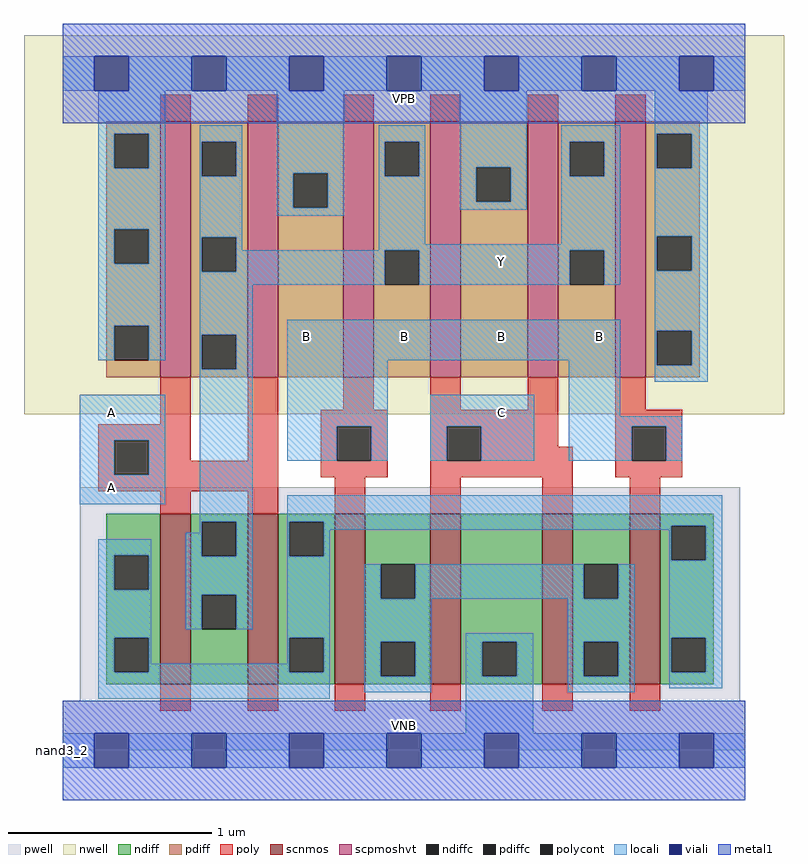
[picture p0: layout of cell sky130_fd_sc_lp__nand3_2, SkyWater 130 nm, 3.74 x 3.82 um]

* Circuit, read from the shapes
.subckt sky130_fd_sc_lp__nand3_2 A B C VGND VNB VPB VPWR Y
XM1 Y A n1 VNB sky130_fd_pr__nfet_01v8 w=0.84 l=0.15 m=2
XM2 n2 B n1 VNB sky130_fd_pr__nfet_01v8 w=0.84 l=0.15 m=2
XM3 VGND C n2 VNB sky130_fd_pr__nfet_01v8 w=0.84 l=0.15 m=2
XM4 Y A VPWR VPB sky130_fd_pr__pfet_01v8_hvt w=1.26 l=0.15 m=2
XM5 Y B VPWR VPB sky130_fd_pr__pfet_01v8_hvt w=1.26 l=0.15 m=2
XM6 VPWR C Y VPB sky130_fd_pr__pfet_01v8_hvt w=1.26 l=0.15 m=2
.ends

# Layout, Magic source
magic
tech sky130A
magscale 1 2
<< nwell >>
rect -38 331 710 704
<< pwell >>
rect 17 49 667 259
rect 0 0 672 49
<< scnmos >>
rect 96 65 126 233
rect 182 65 212 233
rect 268 65 298 233
rect 362 65 392 233
rect 472 65 502 233
rect 558 65 588 233
<< scpmoshvt >>
rect 96 367 126 619
rect 182 367 212 619
rect 276 367 306 619
rect 362 367 392 619
rect 458 367 488 619
rect 544 367 574 619
<< ndiff >>
rect 43 192 96 233
rect 43 158 51 192
rect 85 158 96 192
rect 43 111 96 158
rect 43 77 51 111
rect 85 77 96 111
rect 43 65 96 77
rect 126 225 182 233
rect 126 191 137 225
rect 171 191 182 225
rect 126 153 182 191
rect 126 119 137 153
rect 171 119 182 153
rect 126 65 182 119
rect 212 225 268 233
rect 212 191 223 225
rect 257 191 268 225
rect 212 111 268 191
rect 212 77 223 111
rect 257 77 268 111
rect 212 65 268 77
rect 298 183 362 233
rect 298 149 313 183
rect 347 149 362 183
rect 298 107 362 149
rect 298 73 313 107
rect 347 73 362 107
rect 298 65 362 73
rect 392 107 472 233
rect 392 73 413 107
rect 447 73 472 107
rect 392 65 472 73
rect 502 183 558 233
rect 502 149 513 183
rect 547 149 558 183
rect 502 107 558 149
rect 502 73 513 107
rect 547 73 558 107
rect 502 65 558 73
rect 588 221 641 233
rect 588 187 599 221
rect 633 187 641 221
rect 588 111 641 187
rect 588 77 599 111
rect 633 77 641 111
rect 588 65 641 77
<< pdiff >>
rect 43 607 96 619
rect 43 573 51 607
rect 85 573 96 607
rect 43 513 96 573
rect 43 479 51 513
rect 85 479 96 513
rect 43 418 96 479
rect 43 384 51 418
rect 85 384 96 418
rect 43 367 96 384
rect 126 599 182 619
rect 126 565 137 599
rect 171 565 182 599
rect 126 505 182 565
rect 126 471 137 505
rect 171 471 182 505
rect 126 409 182 471
rect 126 375 137 409
rect 171 375 182 409
rect 126 367 182 375
rect 212 568 276 619
rect 212 534 227 568
rect 261 534 276 568
rect 212 367 276 534
rect 306 599 362 619
rect 306 565 317 599
rect 351 565 362 599
rect 306 492 362 565
rect 306 458 317 492
rect 351 458 362 492
rect 306 367 362 458
rect 392 574 458 619
rect 392 540 407 574
rect 441 540 458 574
rect 392 367 458 540
rect 488 599 544 619
rect 488 565 499 599
rect 533 565 544 599
rect 488 492 544 565
rect 488 458 499 492
rect 533 458 544 492
rect 488 367 544 458
rect 574 607 627 619
rect 574 573 585 607
rect 619 573 627 607
rect 574 506 627 573
rect 574 472 585 506
rect 619 472 627 506
rect 574 413 627 472
rect 574 379 585 413
rect 619 379 627 413
rect 574 367 627 379
<< ndiffc >>
rect 51 158 85 192
rect 51 77 85 111
rect 137 191 171 225
rect 137 119 171 153
rect 223 191 257 225
rect 223 77 257 111
rect 313 149 347 183
rect 313 73 347 107
rect 413 73 447 107
rect 513 149 547 183
rect 513 73 547 107
rect 599 187 633 221
rect 599 77 633 111
<< pdiffc >>
rect 51 573 85 607
rect 51 479 85 513
rect 51 384 85 418
rect 137 565 171 599
rect 137 471 171 505
rect 137 375 171 409
rect 227 534 261 568
rect 317 565 351 599
rect 317 458 351 492
rect 407 540 441 574
rect 499 565 533 599
rect 499 458 533 492
rect 585 573 619 607
rect 585 472 619 506
rect 585 379 619 413
<< poly >>
rect 96 619 126 645
rect 182 619 212 645
rect 276 619 306 645
rect 362 619 392 645
rect 458 619 488 645
rect 544 619 574 645
rect 96 321 126 367
rect 35 305 126 321
rect 35 271 51 305
rect 85 285 126 305
rect 182 285 212 367
rect 276 335 306 367
rect 362 335 392 367
rect 458 335 488 367
rect 85 271 212 285
rect 35 255 212 271
rect 254 319 320 335
rect 254 285 270 319
rect 304 285 320 319
rect 254 269 320 285
rect 362 319 488 335
rect 362 285 378 319
rect 412 299 488 319
rect 544 335 574 367
rect 544 319 610 335
rect 412 285 502 299
rect 362 269 502 285
rect 544 285 560 319
rect 594 285 610 319
rect 544 269 610 285
rect 96 233 126 255
rect 182 233 212 255
rect 268 233 298 269
rect 362 233 392 269
rect 472 233 502 269
rect 558 233 588 269
rect 96 39 126 65
rect 182 39 212 65
rect 268 39 298 65
rect 362 39 392 65
rect 472 39 502 65
rect 558 39 588 65
<< polycont >>
rect 51 271 85 305
rect 270 285 304 319
rect 378 285 412 319
rect 560 285 594 319
<< locali >>
rect 0 649 31 683
rect 65 649 127 683
rect 161 649 223 683
rect 257 649 319 683
rect 353 649 415 683
rect 449 649 511 683
rect 545 649 607 683
rect 641 649 672 683
rect 35 607 101 649
rect 35 573 51 607
rect 85 573 101 607
rect 35 513 101 573
rect 35 479 51 513
rect 85 479 101 513
rect 35 418 101 479
rect 35 384 51 418
rect 85 384 101 418
rect 135 599 177 615
rect 135 565 137 599
rect 171 565 177 599
rect 135 505 177 565
rect 211 568 277 649
rect 211 534 227 568
rect 261 534 277 568
rect 211 526 277 534
rect 311 599 357 615
rect 311 565 317 599
rect 351 565 357 599
rect 135 471 137 505
rect 171 492 177 505
rect 311 498 357 565
rect 391 574 457 649
rect 391 540 407 574
rect 441 540 457 574
rect 391 532 457 540
rect 491 599 549 615
rect 491 565 499 599
rect 533 565 549 599
rect 491 498 549 565
rect 311 492 549 498
rect 171 471 317 492
rect 135 458 317 471
rect 351 458 499 492
rect 533 458 549 492
rect 583 607 635 649
rect 583 573 585 607
rect 619 573 635 607
rect 583 506 635 573
rect 583 472 585 506
rect 619 472 635 506
rect 135 409 187 458
rect 135 375 137 409
rect 171 375 187 409
rect 17 305 101 350
rect 17 271 51 305
rect 85 271 101 305
rect 17 242 101 271
rect 135 225 187 375
rect 221 384 549 424
rect 221 319 320 384
rect 221 285 270 319
rect 304 285 320 319
rect 362 319 464 350
rect 362 285 378 319
rect 412 285 464 319
rect 498 329 549 384
rect 583 413 635 472
rect 583 379 585 413
rect 619 379 635 413
rect 583 363 635 379
rect 498 319 610 329
rect 498 285 560 319
rect 594 285 610 319
rect 135 214 137 225
rect 35 192 87 208
rect 35 158 51 192
rect 85 158 87 192
rect 35 111 87 158
rect 121 191 137 214
rect 171 191 187 225
rect 121 153 187 191
rect 121 119 137 153
rect 171 119 187 153
rect 221 225 649 251
rect 221 191 223 225
rect 257 221 649 225
rect 257 217 599 221
rect 257 191 263 217
rect 35 77 51 111
rect 85 85 87 111
rect 221 111 263 191
rect 597 187 599 217
rect 633 187 649 221
rect 221 85 223 111
rect 85 77 223 85
rect 257 77 263 111
rect 35 51 263 77
rect 297 149 313 183
rect 347 149 513 183
rect 547 149 563 183
rect 297 107 363 149
rect 297 73 313 107
rect 347 73 363 107
rect 297 57 363 73
rect 397 107 463 115
rect 397 73 413 107
rect 447 73 463 107
rect 397 17 463 73
rect 497 107 563 149
rect 497 73 513 107
rect 547 73 563 107
rect 497 57 563 73
rect 597 111 649 187
rect 597 77 599 111
rect 633 77 649 111
rect 597 61 649 77
rect 0 -17 31 17
rect 65 -17 127 17
rect 161 -17 223 17
rect 257 -17 319 17
rect 353 -17 415 17
rect 449 -17 511 17
rect 545 -17 607 17
rect 641 -17 672 17
<< viali >>
rect 31 649 65 683
rect 127 649 161 683
rect 223 649 257 683
rect 319 649 353 683
rect 415 649 449 683
rect 511 649 545 683
rect 607 649 641 683
rect 31 -17 65 17
rect 127 -17 161 17
rect 223 -17 257 17
rect 319 -17 353 17
rect 415 -17 449 17
rect 511 -17 545 17
rect 607 -17 641 17
<< metal1 >>
rect 0 683 672 715
rect 0 649 31 683
rect 65 649 127 683
rect 161 649 223 683
rect 257 649 319 683
rect 353 649 415 683
rect 449 649 511 683
rect 545 649 607 683
rect 641 649 672 683
rect 0 617 672 649
rect 0 17 672 49
rect 0 -17 31 17
rect 65 -17 127 17
rect 161 -17 223 17
rect 257 -17 319 17
rect 353 -17 415 17
rect 449 -17 511 17
rect 545 -17 607 17
rect 641 -17 672 17
rect 0 -49 672 -17
<< labels >>
flabel pwell s 0 0 672 49 0 FreeSans 200 0 0 0 VNB
port 5 nsew ground bidirectional
flabel nwell s 0 617 672 666 0 FreeSans 200 0 0 0 VPB
port 6 nsew power bidirectional
rlabel comment s 0 0 0 0 4 nand3_2
flabel metal1 s 0 617 672 666 0 FreeSans 340 0 0 0 VPWR
port 7 nsew power bidirectional
flabel metal1 s 0 0 672 49 0 FreeSans 340 0 0 0 VGND
port 4 nsew ground bidirectional
flabel locali s 31 242 65 276 0 FreeSans 340 0 0 0 A
port 1 nsew signal input
flabel locali s 31 316 65 350 0 FreeSans 340 0 0 0 A
port 1 nsew signal input
flabel locali s 415 464 449 498 0 FreeSans 340 0 0 0 Y
port 8 nsew signal output
flabel locali s 223 390 257 424 0 FreeSans 340 0 0 0 B
port 2 nsew signal input
flabel locali s 319 390 353 424 0 FreeSans 340 0 0 0 B
port 2 nsew signal input
flabel locali s 415 390 449 424 0 FreeSans 340 0 0 0 B
port 2 nsew signal input
flabel locali s 511 390 545 424 0 FreeSans 340 0 0 0 B
port 2 nsew signal input
flabel locali s 415 316 449 350 0 FreeSans 340 0 0 0 C
port 3 nsew signal input
<< properties >>
string LEFsite unit
string LEFclass CORE
string FIXED_BBOX 0 0 672 666
string GDS_FILE $PDKPATH/libs.ref/sky130_fd_sc_lp/gds/sky130_fd_sc_lp.gds
string LEFsymmetry X Y R90
string GDS_END 401686
string GDS_START 394936
<< end >>
